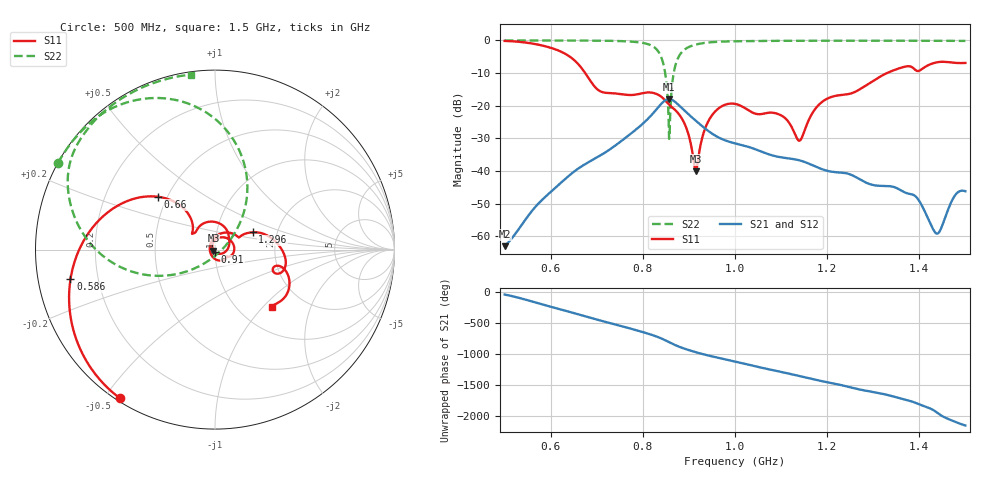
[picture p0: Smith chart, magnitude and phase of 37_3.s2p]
! TOUCHSTONE file generated by CST MICROWAVE STUDIO
! Date and time: Fri Oct  2 16:34:59 2020
! Project name: Scenario_1_Free_Space_out_of_line.cst
! Parameters = {Lambda=346.42; Step_1=17.321; dy1=-276.636; dx1=520; L_HA=400; MT=2.54; Rad_Dielectric=30; Rad_Lower=7.3; Rad_Upper=30; a_HA=580; a_WG=246; b_HA=500; b_WG=121; c_HA=0; c_WG=187; d_feed=85; h_feed=15; h_lower=18; h_upper=40}
! Header version: 2018
! Port assignment regex: !\s*Touchstone port\s*([0-9]+)\s*=\s*(CST MWS port|CST DS port)\s*([0-9]+|Zmin|Zmax)\s*\(\"(.*)\"\)(\s*mode\s*([0-9]+))?.*
! Touchstone port assignment:
! Touchstone port 1 = CST MWS port 1 ("")
! Touchstone port 2 = CST MWS port 2 ("")
# GHz S DB R 50
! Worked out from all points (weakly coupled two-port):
!   1003 points, 500 MHz to 1.5 GHz, reference 50 ohm
!   highest |S21| = -17.98 dB at 857 MHz (marker M1); lowest = -63.0 dB at 500 MHz (marker M2)
!   lowest |S11| = -40.1 dB at 915 MHz (marker M3), VSWR 1.02, Z = 49.2 - j0.529 ohm
!   |S11| at or under -10 dB: 674.9 MHz to 1.33 GHz (655 MHz wide, 65.3 % of centre)
!   |S22| runs from -30.1 to 0.0 dB; largest |S21 - S12| = 1.2e-05
!   S11 on the Smith chart (normalised r, x): 500 MHz: 0.01, -0.55; 586 MHz: 0.10, -0.10; 660 MHz: 0.45, +0.32; 910 MHz: 1.00, -0.03; 1.296 GHz: 1.49, +0.30; 1.5 GHz: 1.40, -1.13
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0.5  -0.15 -122.6  -63.05 -36.2  -63.05 -36.2  -0.01 151.2
0.586  -1.70 -168.4  -48.23 154.2  -48.23 154.2  -0.02 145.2
0.66  -7.29 137.1  -39.24 2.1  -39.24 2.1  -0.04 139.0
0.667  -8.47 132.3  -38.59 -13.0  -38.59 -13.0  -0.05 138.3
0.707  -15.54 137.5  -35.33 -95.3  -35.33 -95.3  -0.08 133.9
0.779  -16.70 136.6  -28.00 120.3  -28.00 120.3  -0.41 120.5
0.834  -16.70 78.0  -20.38 -8.5  -20.38 -8.5  -3.49 84.6
0.846  -18.02 57.8  -18.62 -47.4  -18.62 -47.4  -8.09 62.7
0.857  -19.68 41.9  -17.98 -88.2  -17.98 -88.2  -30.14 -15.9
0.875  -22.04 13.5  -19.44 -150.5  -19.44 -150.5  -5.84 -167.6
0.91  -36.58 -88.2  -24.00 120.4  -24.00 120.4  -1.46 162.4
0.915  -40.05 -147.2  -24.62 109.5  -24.62 109.5  -1.27 160.2
0.947  -23.56 74.8  -28.25 47.3  -28.25 47.3  -0.56 149.9
1  -19.44 -3.7  -31.54 -40.8  -31.54 -40.8  -0.26 140.2
1.101  -23.03 -60.3  -35.84 148.9  -35.84 148.9  -0.12 129.6
1.139  -30.72 -170.2  -36.71 83.7  -36.71 83.7  -0.11 126.4
1.167  -22.50 85.7  -38.17 34.5  -38.17 34.5  -0.10 124.2
1.296  -12.76 24.7  -44.18 -170.2  -44.18 -170.2  -0.08 114.4
1.334  -9.74 10.5  -44.62 131.3  -44.62 131.3  -0.09 111.5
1.393  -9.22 -20.6  -47.93 5.6  -47.93 5.6  -0.10 106.9
1.438  -6.70 -26.4  -59.20 -145.5  -59.20 -145.4  -0.11 103.3
1.5  -6.90 -45.3  -46.20 2.8  -46.21 2.7  -0.14 97.9
